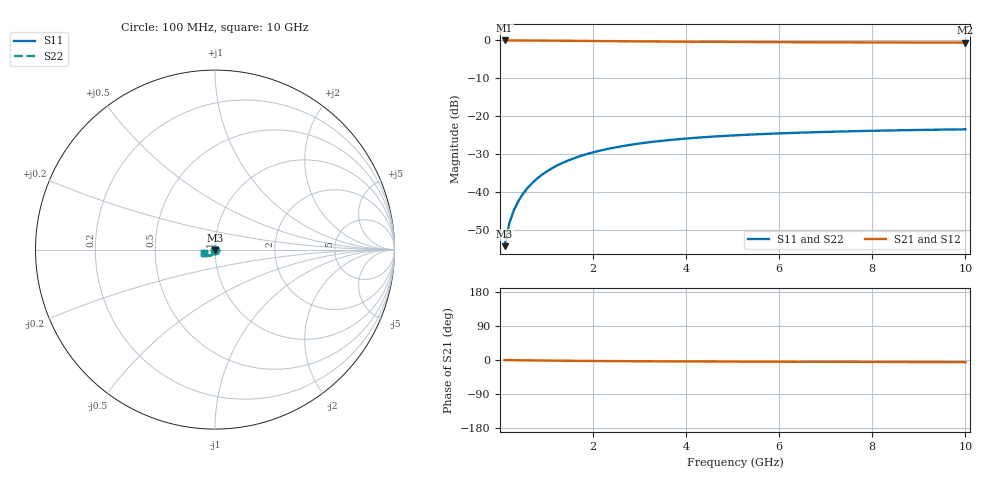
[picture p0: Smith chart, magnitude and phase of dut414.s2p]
! Touchstone file exported from HFSS 2024.1.0
!  File:  C:/UserFiles/LocalFiles/RDL_TSV_Batchsim/temp_TSV1_414_1779692776.aedt
!  Generated:  03:11:14 PM May 25, 2026
!  Design:  TSV1
!  Project:  temp_TSV1_414_1779692776
!  Setup:  Setup1
!  Solution:  Sweep
! Variables:
!  dtsv = 13.48um
!  hbump = 3um
!  htsv = 89.86um
!  lrdl = 252.1521522um
!  p = 40
!  p1 = 48.55um
!  t = 500um
!  trdl = 3um
!  wrdl = 24.89489489um
# GHz S MA R 50.000000
! Terminal data exported
! Port[1] = TSV22_T1
! Port[2] = TSV22_T2
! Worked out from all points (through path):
!   100 points, 100 MHz to 10 GHz, reference 50 ohm
!   highest |S21| = 0.00 dB at 100 MHz (marker M1); lowest = -0.6 dB at 10 GHz (marker M2)
!   lowest |S11| = -54.4 dB at 100 MHz (marker M3), VSWR 1.00, Z = 50 - j0.191 ohm
!   |S11| at or under -10 dB: start of sweep to end of sweep
!   |S22| runs from -54.4 to -23.5 dB; largest |S21 - S12| = 4.4e-15
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0.1  0.001909 -88.8  0.9998 -0.2  0.9998 -0.2  0.001909 -88.8
! Gamma 0 0 0 0
! Port Impedance 50 0 50 0
0.2  0.003816 -91.8  0.9997 -0.3  0.9997 -0.3  0.003816 -91.8
0.3  0.005721 -93.8  0.9994 -0.5  0.9994 -0.5  0.005721 -93.8
0.4  0.007617 -95.7  0.999 -0.6  0.999 -0.6  0.007617 -95.7
0.5  0.009495 -97.5  0.9985 -0.8  0.9985 -0.8  0.009495 -97.5
0.6  0.01135 -99.3  0.9979 -0.9  0.9979 -0.9  0.01135 -99.3
0.7  0.01318 -101.0  0.9972 -1.1  0.9972 -1.1  0.01318 -101.0
0.8  0.01497 -102.7  0.9964 -1.2  0.9964 -1.2  0.01497 -102.7
0.9  0.01673 -104.3  0.9956 -1.3  0.9956 -1.3  0.01673 -104.3
1.1  0.02013 -107.5  0.9937 -1.6  0.9937 -1.6  0.02013 -107.5
1.4  0.02489 -112.0  0.9906 -2.0  0.9906 -2.0  0.02489 -112.0
1.6  0.02784 -114.8  0.9883 -2.2  0.9883 -2.2  0.02784 -114.8
1.8  0.03059 -117.4  0.9859 -2.4  0.9859 -2.4  0.03059 -117.4
2.1  0.03437 -121.2  0.9823 -2.7  0.9823 -2.7  0.03437 -121.2
2.5  0.03879 -125.7  0.9776 -3.0  0.9776 -3.0  0.03879 -125.7
2.9  0.04259 -129.7  0.9731 -3.2  0.9731 -3.2  0.04259 -129.7
3.4  0.04659 -134.1  0.968 -3.5  0.968 -3.5  0.04659 -134.1
4.2  0.05164 -140.0  0.961 -3.9  0.961 -3.9  0.05164 -140.0
5.1  0.05588 -145.4  0.9546 -4.2  0.9546 -4.2  0.05588 -145.4
6.7  0.06108 -152.6  0.9463 -4.8  0.9463 -4.8  0.06108 -152.6
8.4  0.06463 -158.4  0.9403 -5.3  0.9403 -5.3  0.06463 -158.4
10  0.0669 -162.6  0.9363 -5.8  0.9363 -5.8  0.0669 -162.6
